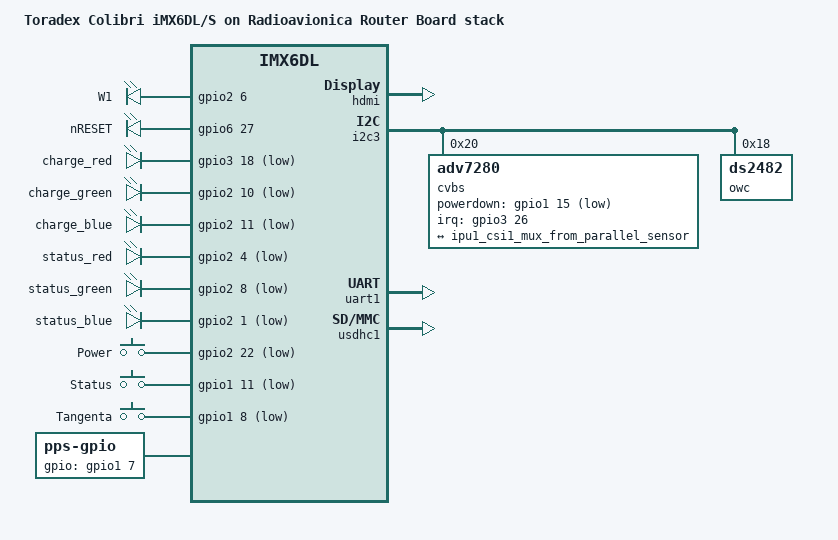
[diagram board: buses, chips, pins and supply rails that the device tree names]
/*
 * Copyright 2014-2016 Toradex AG
 * Copyright 2012 Freescale Semiconductor, Inc.
 * Copyright 2011 Linaro Ltd.
 *
 * This file is dual-licensed: you can use it either under the terms
 * of the GPL or the X11 license, at your option. Note that this dual
 * licensing only applies to this file, and not this project as a
 * whole.
 *
 *  a) This file is free software; you can redistribute it and/or
 *     modify it under the terms of the GNU General Public License
 *     version 2 as published by the Free Software Foundation.
 *
 *     This file is distributed in the hope that it will be useful
 *     but WITHOUT ANY WARRANTY; without even the implied warranty of
 *     MERCHANTABILITY or FITNESS FOR A PARTICULAR PURPOSE.  See the
 *     GNU General Public License for more details.
 *
 * Or, alternatively
 *
 *  b) Permission is hereby granted, free of charge, to any person
 *     obtaining a copy of this software and associated documentation
 *     files (the "Software"), to deal in the Software without
 *     restriction, including without limitation the rights to use
 *     copy, modify, merge, publish, distribute, sublicense, and/or
 *     sell copies of the Software, and to permit persons to whom the
 *     Software is furnished to do so, subject to the following
 *     conditions:
 *
 *     The above copyright notice and this permission notice shall be
 *     included in all copies or substantial portions of the Software.
 *
 *     THE SOFTWARE IS PROVIDED , WITHOUT WARRANTY OF ANY KIND
 *     EXPRESS OR IMPLIED, INCLUDING BUT NOT LIMITED TO THE WARRANTIES
 *     OF MERCHANTABILITY, FITNESS FOR A PARTICULAR PURPOSE AND
 *     NONINFRINGEMENT. IN NO EVENT SHALL THE AUTHORS OR COPYRIGHT
 *     HOLDERS BE LIABLE FOR ANY CLAIM, DAMAGES OR OTHER LIABILITY
 *     WHETHER IN AN ACTION OF CONTRACT, TORT OR OTHERWISE, ARISING
 *     FROM, OUT OF OR IN CONNECTION WITH THE SOFTWARE OR THE USE OR
 *     OTHER DEALINGS IN THE SOFTWARE.
 */

/dts-v1/;

#include <dt-bindings/input/input.h>
#include <dt-bindings/interrupt-controller/irq.h>
#include "imx6dl.dtsi"
#include "imx6qdl-colibri-ravion.dtsi"

/ {
	model = "Toradex Colibri iMX6DL/S on Radioavionica Router Board stack";
	compatible = "toradex,mcp", "toradex,colibri_imx6dl-eval",
		"toradex,colibri_imx6dl", "fsl,imx6dl";

	/*
	 * Device specific leds
	 */
	gpio-leds {
		compatible = "gpio-leds";
		pinctrl-names = "default";
		pinctrl-0 = <&pinctrl_gpio_leds>;

		w1 {
			label = "W1";
			gpios = <&gpio2 6 GPIO_ACTIVE_HIGH>;
			default-state = "on";
		};

		nreset {
			label = "nRESET";
			gpios = <&gpio6 27 GPIO_ACTIVE_HIGH>;
			default-state = "off";
		};

		charge_red {
			label = "charge_red";
			gpios = <&gpio3 18 GPIO_ACTIVE_LOW>; /* soDimm77 - GPIO4 */
			default-state = "off";
		};

		charge_green {
			label = "charge_green";
			gpios = <&gpio2 10 GPIO_ACTIVE_LOW>; /* soDimm30 - GPIO5 */
			default-state = "off";
		};

		charge_blue {
			label = "charge_blue";
			gpios = <&gpio2 11 GPIO_ACTIVE_LOW>; /* soDimm100 - GPIO6 */
			default-state = "off";
		};

		status_red {
			label = "status_red";
			gpios = <&gpio2 4 GPIO_ACTIVE_LOW>; /* soDimm102 - GPIO7 */
			default-state = "off";
		};

		status_green {
			label = "status_green";
			gpios = <&gpio2 8 GPIO_ACTIVE_LOW>; /* soDimm104 - GPIO8 */
			default-state = "off";
		};

		status_blue {
			label = "status_blue";
			linux,default-trigger = "heartbeat";
			gpios = <&gpio2 1 GPIO_ACTIVE_LOW>; /* soDimm134 - GPIO9 */
			default-state = "on";
		};
	};

	/*
	 * Device specific keys
	 */
	gpio-keys {
		compatible = "gpio-keys";
		pinctrl-names = "default";
		pinctrl-0 = <&pinctrl_gpio_keys>;

		power {
			label = "Power";
			gpios = <&gpio2 22 GPIO_ACTIVE_LOW>; /* SODIMM 45 */
			linux,code = <KEY_POWER>;
			debounce-interval = <100>;
			wakeup-source;
		};

		status {
			label = "Status";
			gpios = <&gpio1 11 GPIO_ACTIVE_LOW>; /* soDimm69 - GPIO3 */
			linux,code = <KEY_F1>;
			debounce-interval = <100>;
		};

		tangenta {
			label = "Tangenta";
			gpios = <&gpio1 8 GPIO_ACTIVE_LOW>; /* soDimm63 - GPIO2 */
			linux,code = <KEY_F2>;
			debounce-interval = <100>;
		};
	};

	/*
	 * PPS pin from SNS receiver
	 */
	pps {
		compatible = "pps-gpio";
		pinctrl-names = "default";
		pinctrl-0 = <&pinctrl_pps_gpio>;

		gpios = <&gpio1 7 GPIO_ACTIVE_HIGH>; /* soDimm 55 - GPIO1 board */
		assert-falling-edge;
		status = "okay";
	};
};

/*
 * Display subsystem
 */
&tft_display_bus {	status = "disabled"; };
&hdmi		 {	status = "okay"; };

/*
 * Colibri I2C: I2C3_SDA/SCL on SODIMM 194/196 (e.g. RTC on carrier board)
 */
&i2c3 {
	status = "okay";

	/* Composite video capture interface */
	cvbs: adv7280@20 {
		reg = <0x20>;
		compatible = "adv7280", "adi,adv7280";
		pinctrl-names = "default";
		pinctrl-0 = <&pinctrl_adv7280>;
		interrupt-parent = <&gpio3>;
		interrupts = <26 IRQ_TYPE_LEVEL_LOW>;
		powerdown-gpios = <&gpio1 15 GPIO_ACTIVE_LOW>;
		input-names = "Ain1","Ain2","Ain3","Ain4";
		inputs = <0x00 0x01 0x02 0x03>;
		status = "okay";

		port {
			adv7280_ep: endpoint {
				remote-endpoint = <&ipu1_csi1_mux_from_parallel_sensor>;
				bus-width = <8>;
			};
		};
	};

	/* DS2484: I2C to OneWire Converter */
	owc: ds2482@18 {
		status = "okay";
		compatible = "ds2482";
		reg = <0x18>;
	};
};

&ipu1_csi1 {
	pinctrl-names = "default";
	pinctrl-0 = <&pinctrl_ipu1_csi1>;

	fim {
		status = "okay";
	};
};

&ipu1_csi1_from_ipu1_csi1_mux {
};

&ipu1_csi1_mux_from_parallel_sensor {
	remote-endpoint = <&adv7280_ep>;
};

&uart1 { status = "okay"; }; /* default full feature uart */

/* external mmc card */
&usdhc1 { status = "okay"; };

/* Board specific io muxing */
&iomuxc {
	pinctrl_adv7280: gpio-adv7280 {
		fsl,pins = <
			MX6QDL_PAD_EIM_D26__GPIO3_IO26	0x1b0b0 /* soDimm 71: CIF_D0/CIF_IRQn */
			MX6QDL_PAD_SD2_DAT0__GPIO1_IO15	0x0f058 /* soDimm 98: CIF_D1/CIF_nPDN */
		>;
	};

	pinctrl_gpio_leds: gpio-leds {
		fsl,pins = <
			MX6QDL_PAD_RGMII_RD1__GPIO6_IO27 0xf058 /* PU_22K interal RGMII_RD1 - nRESET OUT */
			MX6QDL_PAD_NANDF_D6__GPIO2_IO06	 0xf058 /* PU_22K soDimm 127: SLPZ@DS2484R   */
			MX6QDL_PAD_EIM_D18__GPIO3_IO18   0xf058 /* PU_22K soDimm 77,  GPIO4 */
			MX6QDL_PAD_SD4_DAT2__GPIO2_IO10  0xf058 /* PU_22K soDimm 30,  GPIO5 */
			MX6QDL_PAD_SD4_DAT3__GPIO2_IO11  0xf058 /* PU_22K soDomm 100, GPIO6 */
			MX6QDL_PAD_NANDF_D4__GPIO2_IO04  0xf058 /* PU_22K soDimm 102, GPIO7 */
			MX6QDL_PAD_SD4_DAT0__GPIO2_IO08  0xf058 /* PU_22K soDimm 104, GPIO8 */
			MX6QDL_PAD_NANDF_D1__GPIO2_IO01  0xf058 /* PU_22K soDimm 134, GPIO9 */
		>;
	};

	pinctrl_gpio_keys: gpiokeys {
		fsl,pins = <
			MX6QDL_PAD_EIM_A16__GPIO2_IO22		0x1b0b0	/* Power button */
			MX6QDL_PAD_SD2_CMD__GPIO1_IO11		0x1b0b0 /* soDimm69,  GPIO3 */
			MX6QDL_PAD_GPIO_8__GPIO1_IO08		0x1b0b0 /* soDimm63,  GPIO2 */
		>;
	};

	pinctrl_pps_gpio: gpiopps {
		fsl,pins = <
			MX6QDL_PAD_GPIO_7__GPIO1_IO07		0x1b0b0 /* soDimm 55 */
		>;
	};
};
